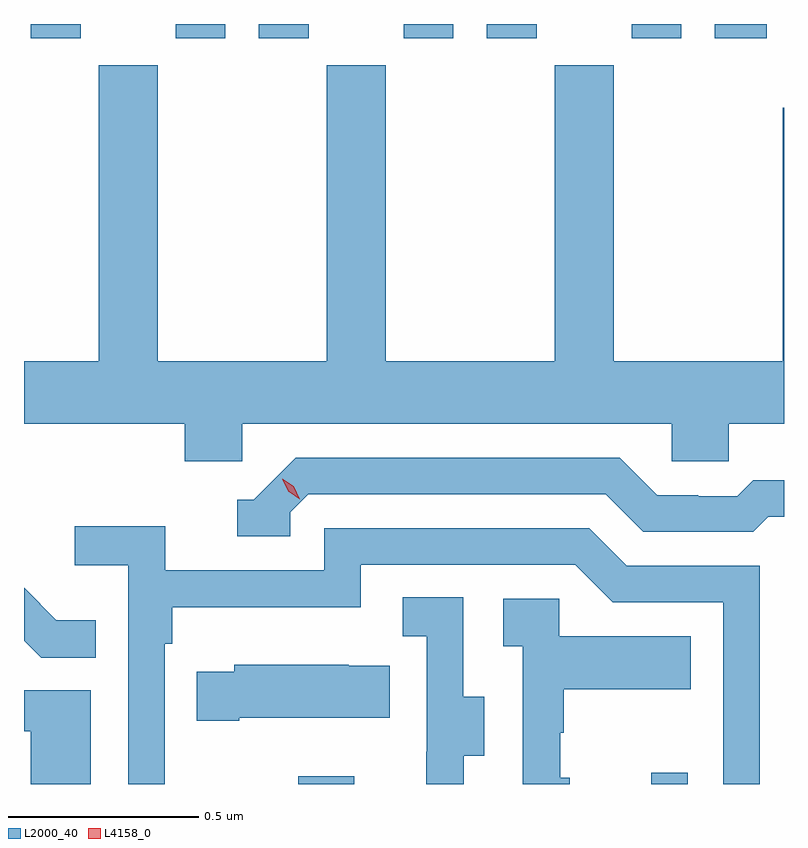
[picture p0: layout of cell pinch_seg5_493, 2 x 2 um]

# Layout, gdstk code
import gdstk
lib = gdstk.Library(unit=1e-6, precision=1e-09)
def R(c, l, rs):  # rectangles x0, y0, x1, y1
    for r in rs: c.add(gdstk.rectangle(r[:2], r[2:], *l))
def P(c, l, *ps):  # polygons
    for p in ps: c.add(gdstk.Polygon(p, *l))
L2000_40 = (2000, 40)
L4158_0 = (4158, 0)

pinch_seg5_493 = lib.new_cell('pinch_seg5_493')
R(pinch_seg5_493, L2000_40, [(934.168,849.152,934.315,849.172), (935.096,849.152,935.193,849.181), (933.464,851.115,933.595,851.152), (933.845,851.115,933.976,851.152), (934.064,851.115,934.195,851.152), (934.445,851.115,934.576,851.152), (934.664,851.115,934.795,851.152), (935.045,851.115,935.176,851.152), (935.264,851.115,935.401,851.152)])
P(pinch_seg5_493, L2000_40, [(934.02,850.1),(935.151,850.1),(935.151,850.002),(935.301,850.002),(935.301,850.1),(935.446,850.1),(935.446,850.931),(935.443,850.931),(935.443,850.264),(934.998,850.264),(934.998,851.044),(934.843,851.044),(934.843,850.264),(934.398,850.264),(934.398,851.044),(934.243,851.044),(934.243,850.264),(933.798,850.264),(933.798,851.044),(933.643,851.044),(933.643,850.264),(933.446,850.264),(933.446,850.1),(933.869,850.1),(933.869,850.002),(934.02,850.002)],
  [(934.146,849.867),(934.194,849.915),(934.977,849.915),(935.076,849.816),(935.365,849.816),(935.404,849.855),(935.446,849.855),(935.446,849.952),(935.365,849.952),(935.323,849.909),(935.22,849.909),(935.22,849.912),(935.113,849.912),(935.014,850.011),(934.161,850.011),(934.05,849.9),(934.007,849.9),(934.007,849.804),(934.146,849.804)],
  [(933.816,849.521),(933.836,849.521),(933.836,849.617),(934.332,849.617),(934.332,849.729),(934.896,849.729),(934.995,849.63),(935.286,849.63),(935.286,849.152),(935.382,849.152),(935.382,849.726),(935.032,849.726),(934.933,849.825),(934.236,849.825),(934.236,849.714),(933.818,849.714),(933.818,849.83),(933.579,849.83),(933.579,849.728),(933.72,849.728),(933.72,849.152),(933.816,849.152)],
  [(933.635,849.583),(933.531,849.583),(933.446,849.668),(933.446,849.529),(933.491,849.484),(933.635,849.484)],
  [(934.603,849.226),(934.657,849.226),(934.657,849.381),(934.602,849.381),(934.602,849.644),(934.443,849.644),(934.443,849.541),(934.506,849.541),(934.506,849.237),(934.505,849.237),(934.505,849.152),(934.603,849.152)],
  [(934.882,849.168),(934.857,849.168),(934.857,849.287),(934.867,849.287),(934.867,849.401),(935.201,849.401),(935.201,849.541),(934.854,849.541),(934.854,849.639),(934.707,849.639),(934.707,849.515),(934.758,849.515),(934.758,849.152),(934.882,849.152)],
  [(934.012,849.326),(934.409,849.326),(934.409,849.463),(934.301,849.463),(934.301,849.466),(933.999,849.466),(933.999,849.448),(933.901,849.448),(933.901,849.319),(934.012,849.319)],
  [(933.622,849.399),(933.446,849.399),(933.446,849.291),(933.464,849.291),(933.464,849.152),(933.622,849.152)])
P(pinch_seg5_493, L4158_0, [(934.172,849.902),(934.141,849.922),(934.125,849.954),(934.125,849.955),(934.125,849.955),(934.156,849.935),(934.172,849.902),(934.172,849.902)])

lib.write_gds('pinch_seg5_493.gds')
